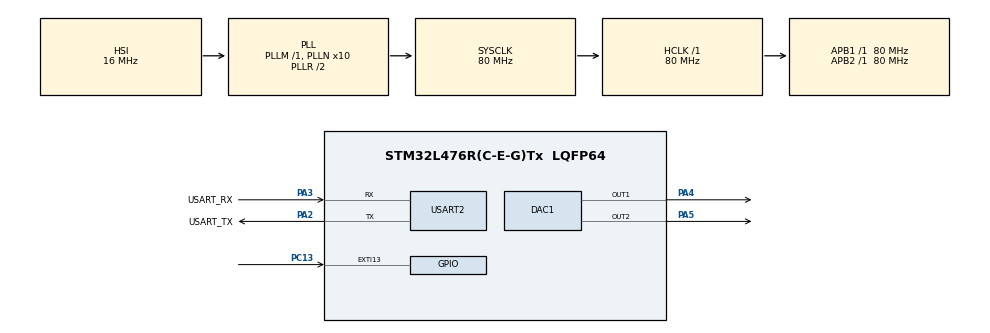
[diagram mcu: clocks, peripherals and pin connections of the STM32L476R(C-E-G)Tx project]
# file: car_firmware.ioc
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DAC1.DAC_Channel-DAC_OUT2=DAC_CHANNEL_2
Mcu.Family=STM32L4
Mcu.Name=STM32L476R(C-E-G)Tx
Mcu.Package=LQFP64
NUCLEO-L476RG.BUTTON=1
NUCLEO-L476RG.LD2=false
NVIC.EXTI15_10_IRQn=true\:0\:0\:false\:false\:true\:false\:true\:true
NVIC.PriorityGroup=NVIC_PRIORITYGROUP_4
PA13\ (JTMS-SWDIO).GPIO_Label=TMS
PA13\ (JTMS-SWDIO).Signal=SYS_JTMS-SWDIO
PA14\ (JTCK-SWCLK).GPIO_Label=TCK
PA14\ (JTCK-SWCLK).Signal=SYS_JTCK-SWCLK
PA2.GPIO_Label=USART_TX
PA2.GPIO_Mode=GPIO_MODE_AF_PP
PA2.GPIO_PuPd=GPIO_NOPULL
PA2.GPIO_Speed=GPIO_SPEED_FREQ_VERY_HIGH
PA2.Mode=Asynchronous
PA2.Signal=USART2_TX
PA3.GPIO_Label=USART_RX
PA3.GPIO_Mode=GPIO_MODE_AF_PP
PA3.GPIO_PuPd=GPIO_NOPULL
PA3.GPIO_Speed=GPIO_SPEED_FREQ_VERY_HIGH
PA3.Mode=Asynchronous
PA3.Signal=USART2_RX
PA4.Signal=COMP_DAC11_group
PA5.Signal=COMP_DAC12_group
PB3\ (JTDO-TRACESWO).GPIO_Label=SWO
PB3\ (JTDO-TRACESWO).Signal=SYS_JTDO-SWO
PC13.Signal=GPXTI13
PC14-OSC32_IN\ (PC14).Signal=RCC_OSC32_IN
PC15-OSC32_OUT\ (PC15).Signal=RCC_OSC32_OUT
PH0-OSC_IN\ (PH0).Signal=RCC_OSC_IN
PH1-OSC_OUT\ (PH1).Signal=RCC_OSC_OUT
ProjectManager.HeapSize=0x200
ProjectManager.StackSize=0x400
ProjectManager.TargetToolchain=Makefile
RCC.ADCFreq_Value=64000000
RCC.AHBFreq_Value=80000000
RCC.APB1Freq_Value=80000000
RCC.APB1TimFreq_Value=80000000
RCC.APB2Freq_Value=80000000
RCC.APB2TimFreq_Value=80000000
RCC.CortexFreq_Value=80000000
RCC.HCLKFreq_Value=80000000
RCC.HSE_VALUE=8000000
RCC.HSI_VALUE=16000000
RCC.LSE_VALUE=32768
RCC.MSI_VALUE=4000000
RCC.PLLN=10
RCC.PLLSourceVirtual=RCC_PLLSOURCE_HSI
RCC.PREFETCH_ENABLE=1
RCC.SYSCLKFreq_VALUE=80000000
RCC.SYSCLKSource=RCC_SYSCLKSOURCE_PLLCLK
RCC.USBFreq_Value=64000000
RCC.VCOOutputFreq_Value=160000000
SH.COMP_DAC11_group.0=DAC1_OUT1,DAC_OUT1
SH.COMP_DAC12_group.0=DAC1_OUT2,DAC_OUT2
USART2.VirtualMode-Asynchronous=VM_ASYNC
VP_NUCLEO-L476RG_VS_BSP_COMMON.Mode=COMMON
board=NUCLEO-L476RG

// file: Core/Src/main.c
/* USER CODE BEGIN Header */
/**
  ******************************************************************************
  * @file           : main.c
  * @brief          : Main program body
  ******************************************************************************
  * @attention
  *
  * Copyright (c) 2026 STMicroelectronics.
  * All rights reserved.
  *
  * This software is licensed under terms that can be found in the LICENSE file
  * in the root directory of this software component.
  * If no LICENSE file comes with this software, it is provided AS-IS.
  *
  ******************************************************************************
  */
/* USER CODE END Header */
#include "main.h"

DAC_HandleTypeDef hdac1;

UART_HandleTypeDef huart2;

void SystemClock_Config(void);
static void MX_GPIO_Init(void);
static void MX_DAC1_Init(void);
static void MX_USART2_UART_Init(void);

int main(void)
{

  /* MCU Configuration--------------------------------------------------------*/

  /* Reset of all peripherals, Initializes the Flash interface and the Systick. */
  HAL_Init();

  /* Configure the system clock */
  SystemClock_Config();

  /* Initialize all configured peripherals */
  MX_GPIO_Init();
  MX_DAC1_Init();
  MX_USART2_UART_Init();
  /* USER CODE BEGIN 2 */

  if (HAL_DAC_Start(&hdac1, DAC_CHANNEL_1) != HAL_OK ||
      HAL_DAC_Start(&hdac1, DAC_CHANNEL_2) != HAL_OK)
  {
    Error_Handler();
  }

  /* USER CODE END 2 */

  /* Initialize USER push-button, will be used to trigger an interrupt each time it's pressed.*/
  BSP_PB_Init(BUTTON_USER, BUTTON_MODE_EXTI);

  /* Infinite loop */
  /* USER CODE BEGIN WHILE */
  uint8_t serial_frame[5];
  uint16_t dac1_value;
  uint16_t dac2_value;

  HAL_DAC_SetValue(&hdac1, DAC_CHANNEL_1, DAC_ALIGN_12B_R, 2048);
  HAL_DAC_SetValue(&hdac1, DAC_CHANNEL_2, DAC_ALIGN_12B_R, 2048);

  while (1)
  {
    /* Receive two little-endian uint16 values followed by a newline terminator. */
    if (HAL_UART_Receive(&huart2, serial_frame, sizeof(serial_frame), HAL_MAX_DELAY) == HAL_OK)
    {
      if (serial_frame[4] != '\n')
      {
        continue;
      }

      dac1_value = (uint16_t)serial_frame[0] |
                   ((uint16_t)serial_frame[1] << 8);
      dac2_value = (uint16_t)serial_frame[2] |
                   ((uint16_t)serial_frame[3] << 8);

      /* DAC channels are 12-bit; clamp incoming values to the valid range. */
      if (dac1_value > 4095U) dac1_value = 4095U;
      if (dac2_value > 4095U) dac2_value = 4095U;
      HAL_DAC_SetValue(&hdac1, DAC_CHANNEL_1, DAC_ALIGN_12B_R, dac1_value);
      HAL_DAC_SetValue(&hdac1, DAC_CHANNEL_2, DAC_ALIGN_12B_R, dac2_value);
    }

    /* USER CODE END WHILE */

  }
}

void SystemClock_Config(void)
{
  RCC_OscInitTypeDef RCC_OscInitStruct = {0};
  RCC_ClkInitTypeDef RCC_ClkInitStruct = {0};

  /** Configure the main internal regulator output voltage
  */
  if (HAL_PWREx_ControlVoltageScaling(PWR_REGULATOR_VOLTAGE_SCALE1) != HAL_OK)
  {
    Error_Handler();
  }

  /** Initializes the RCC Oscillators according to the specified parameters
  * in the RCC_OscInitTypeDef structure.
  */
  RCC_OscInitStruct.OscillatorType = RCC_OSCILLATORTYPE_HSI;
  RCC_OscInitStruct.HSIState = RCC_HSI_ON;
  RCC_OscInitStruct.HSICalibrationValue = RCC_HSICALIBRATION_DEFAULT;
  RCC_OscInitStruct.PLL.PLLState = RCC_PLL_ON;
  RCC_OscInitStruct.PLL.PLLSource = RCC_PLLSOURCE_HSI;
  RCC_OscInitStruct.PLL.PLLM = 1;
  RCC_OscInitStruct.PLL.PLLN = 10;
  RCC_OscInitStruct.PLL.PLLP = RCC_PLLP_DIV7;
  RCC_OscInitStruct.PLL.PLLQ = RCC_PLLQ_DIV2;
  RCC_OscInitStruct.PLL.PLLR = RCC_PLLR_DIV2;
  if (HAL_RCC_OscConfig(&RCC_OscInitStruct) != HAL_OK)
  {
    Error_Handler();
  }

  /** Initializes the CPU, AHB and APB buses clocks
  */
  RCC_ClkInitStruct.ClockType = RCC_CLOCKTYPE_HCLK|RCC_CLOCKTYPE_SYSCLK
                              |RCC_CLOCKTYPE_PCLK1|RCC_CLOCKTYPE_PCLK2;
  RCC_ClkInitStruct.SYSCLKSource = RCC_SYSCLKSOURCE_PLLCLK;
  RCC_ClkInitStruct.AHBCLKDivider = RCC_SYSCLK_DIV1;
  RCC_ClkInitStruct.APB1CLKDivider = RCC_HCLK_DIV1;
  RCC_ClkInitStruct.APB2CLKDivider = RCC_HCLK_DIV1;

  if (HAL_RCC_ClockConfig(&RCC_ClkInitStruct, FLASH_LATENCY_4) != HAL_OK)
  {
    Error_Handler();
  }
}

static void MX_DAC1_Init(void)
{

  DAC_ChannelConfTypeDef sConfig = {0};

  /** DAC Initialization
  */
  hdac1.Instance = DAC1;
  if (HAL_DAC_Init(&hdac1) != HAL_OK)
  {
    Error_Handler();
  }

  /** DAC channel OUT1 config
  */
  sConfig.DAC_SampleAndHold = DAC_SAMPLEANDHOLD_DISABLE;
  sConfig.DAC_Trigger = DAC_TRIGGER_NONE;
  sConfig.DAC_OutputBuffer = DAC_OUTPUTBUFFER_ENABLE;
  sConfig.DAC_ConnectOnChipPeripheral = DAC_CHIPCONNECT_DISABLE;
  sConfig.DAC_UserTrimming = DAC_TRIMMING_FACTORY;
  if (HAL_DAC_ConfigChannel(&hdac1, &sConfig, DAC_CHANNEL_1) != HAL_OK)
  {
    Error_Handler();
  }

  /** DAC channel OUT2 config
  */
  if (HAL_DAC_ConfigChannel(&hdac1, &sConfig, DAC_CHANNEL_2) != HAL_OK)
  {
    Error_Handler();
  }

}

static void MX_USART2_UART_Init(void)
{

  huart2.Instance = USART2;
  huart2.Init.BaudRate = 115200;
  huart2.Init.WordLength = UART_WORDLENGTH_8B;
  huart2.Init.StopBits = UART_STOPBITS_1;
  huart2.Init.Parity = UART_PARITY_NONE;
  huart2.Init.Mode = UART_MODE_TX_RX;
  huart2.Init.HwFlowCtl = UART_HWCONTROL_NONE;
  huart2.Init.OverSampling = UART_OVERSAMPLING_16;
  huart2.Init.OneBitSampling = UART_ONE_BIT_SAMPLE_DISABLE;
  huart2.AdvancedInit.AdvFeatureInit = UART_ADVFEATURE_NO_INIT;
  if (HAL_UART_Init(&huart2) != HAL_OK)
  {
    Error_Handler();
  }

}

static void MX_GPIO_Init(void)
{

  /* GPIO Ports Clock Enable */
  __HAL_RCC_GPIOC_CLK_ENABLE();
  __HAL_RCC_GPIOH_CLK_ENABLE();
  __HAL_RCC_GPIOA_CLK_ENABLE();
  __HAL_RCC_GPIOB_CLK_ENABLE();

}

void Error_Handler(void)
{
  __disable_irq();
  while (1)
  {
  }
}
